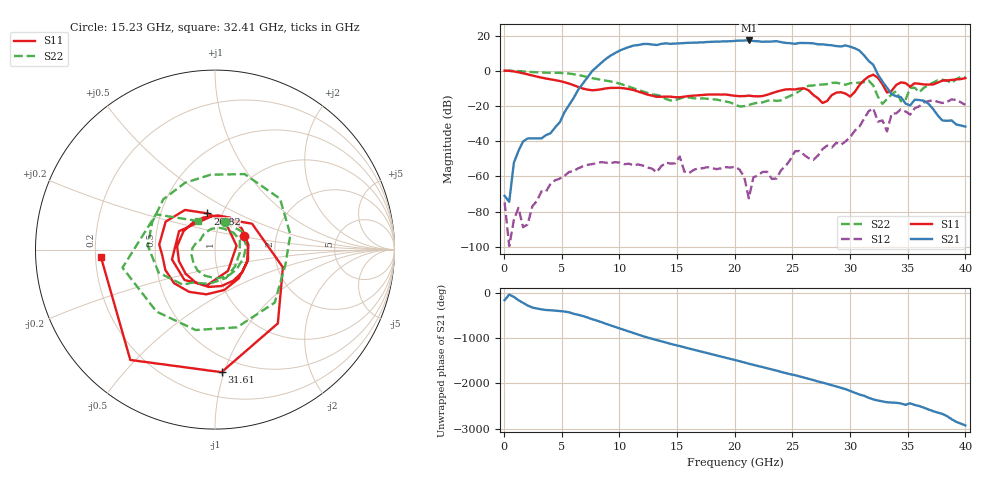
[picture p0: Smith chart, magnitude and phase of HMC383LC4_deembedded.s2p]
!Hittite Microwave Corporation
!20 Alpha Road
!Chelmsford, MA 01824
!Tel: 978-250-3343
!Fax: 978-250-3373
!Device: HMC383LC4, 12-30 GHz, GaAs PHEMT MMIC Driver Amplifier in leadless "Pb free" RoHS compliant SMT package
!Misc: Vdd = +5V, data includes two Southwest connectors, Room
# MHZ S MA R 50
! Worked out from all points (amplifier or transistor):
!   101 points, 50 MHz to 40 GHz, reference 50 ohm
!   highest |S21| = 17.2 dB at 21.22 GHz (marker M1)
!   |S21| within 3 dB of that: 11.19 GHz to 28.64 GHz (17.45 GHz wide, 87.6 % of centre)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
!   unconditionally stable (mu >= 1): 620.1 MHz to end of sweep
!   at 6.442 GHz: K = 371.97, MAG = -6.3 dB, |S12| = -55.3 dB
!   at 20.02 GHz: K = 35.90, MAG = 17.2 dB, |S12| = -54.5 dB
!   at 40 GHz: K = 64.29, MAG = -27.2 dB, |S12| = -19.4 dB
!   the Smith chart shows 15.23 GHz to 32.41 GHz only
!   S11 on the Smith chart (normalised r, x): 15.23 GHz: 1.37, +0.21; 26.82 GHz: 0.85, +0.36; 31.61 GHz: 0.38, -0.98; 32.41 GHz: 0.22, -0.03
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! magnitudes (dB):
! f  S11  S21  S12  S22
! 50 MHz  0.1  -71.0  -74.7  0.0
! 449.5 MHz  -0.1  -74.4  -99.6  0.0
! 849 MHz  -0.4  -52.4  -84.8  0.0
! 1.648 GHz  -1.4  -40.2  -88.8  -0.4
! 4.045 GHz  -4.9  -35.4  -64.0  -1.1
! 6.841 GHz  -10.1  -7.2  -54.2  -3.0
! 10.04 GHz  -9.7  11.5  -52.2  -7.3
! 13.63 GHz  -14.8  15.3  -54.2  -14.4
! 15.23 GHz  -15.0  15.6  -48.6  -15.9
! 16.03 GHz  -14.3  15.9  -58.1  -15.1
! 20.02 GHz  -14.2  17.0  -54.5  -19.1
! 21.22 GHz  -14.1  17.2  -72.4  -19.4
! 21.62 GHz  -14.4  16.9  -60.4  -18.6
! 23.62 GHz  -11.9  16.8  -61.2  -17.1
! 25.22 GHz  -10.6  15.3  -45.7  -13.1
! 26.82 GHz  -13.7  15.6  -50.5  -8.4
! 30.01 GHz  -14.7  13.7  -37.7  -7.0
! 31.61 GHz  -3.3  5.6  -23.0  -5.6
! 32.41 GHz  -3.9  -2.1  -28.9  -14.6
! 33.21 GHz  -12.4  -9.6  -34.4  -16.0
! 33.61 GHz  -11.3  -13.3  -24.3  -13.4
! 40 GHz  -4.2  -31.7  -19.4  -3.8
